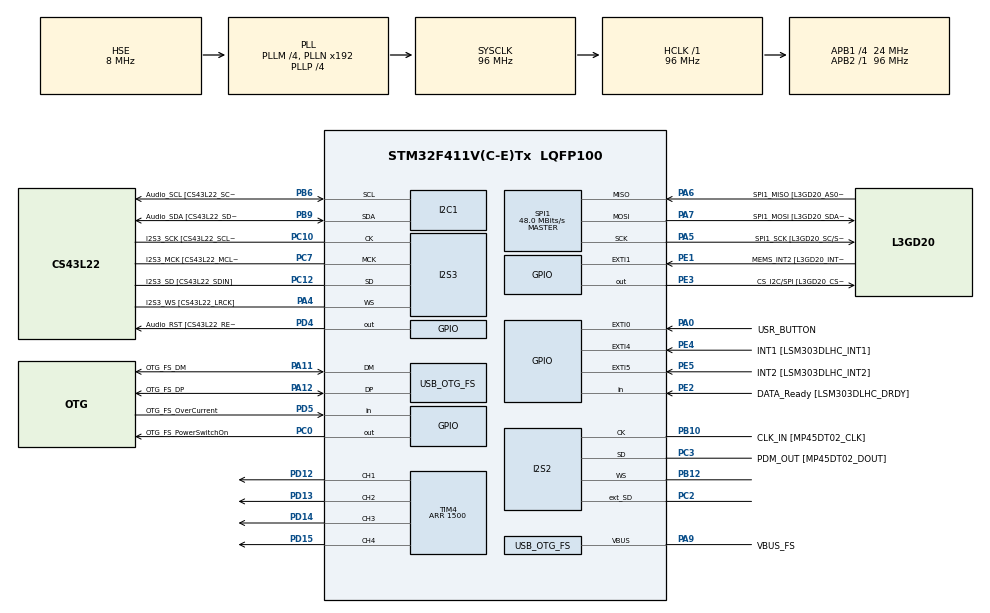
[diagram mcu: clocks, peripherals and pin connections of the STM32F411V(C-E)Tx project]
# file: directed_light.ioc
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I2S2.AudioFreq=I2S_AUDIOFREQ_96K
I2S2.ErrorAudioFreq=0.15 %
I2S2.FullDuplexMode=I2S_FULLDUPLEXMODE_ENABLE
I2S2.Instance=SPI$Index
I2S2.RealAudioFreq=96.153 KHz
I2S2.VirtualMode=I2S_MODE_MASTER
I2S3.AudioFreq=I2S_AUDIOFREQ_96K
I2S3.ErrorAudioFreq=-6.99 %
I2S3.FullDuplexMode=I2S_FULLDUPLEXMODE_DISABLE
I2S3.Instance=SPI$Index
I2S3.RealAudioFreq=89.285 KHz
I2S3.VirtualMode=I2S_MODE_MASTER
Mcu.Family=STM32F4
Mcu.Name=STM32F411V(C-E)Tx
Mcu.Package=LQFP100
NVIC.EXTI0_IRQn=true\:0\:0\:false\:false\:true\:true\:true\:true
NVIC.OTG_FS_IRQn=true\:0\:0\:false\:false\:true\:true\:true\:true
NVIC.PriorityGroup=NVIC_PRIORITYGROUP_0
PA0-WKUP.GPIO_Label=USR_BUTTON
PA0-WKUP.GPIO_ModeDefaultEXTI=GPIO_MODE_IT_RISING_FALLING
PA0-WKUP.Signal=GPXTI0
PA10.GPIO_Label=OTG_FS_ID
PA10.Signal=USB_OTG_FS_ID
PA11.GPIO_Label=OTG_FS_DM
PA11.Mode=Host_Only
PA11.Signal=USB_OTG_FS_DM
PA12.GPIO_Label=OTG_FS_DP
PA12.Mode=Host_Only
PA12.Signal=USB_OTG_FS_DP
PA13.GPIO_Label=SWDIO
PA13.Mode=Serial_Wire
PA13.Signal=SYS_JTMS-SWDIO
PA14.GPIO_Label=SWCLK
PA14.Mode=Serial_Wire
PA14.Signal=SYS_JTCK-SWCLK
PA4.GPIO_Label=I2S3_WS [CS43L22_LRCK]
PA4.GPIO_Mode=GPIO_MODE_AF_PP
PA4.GPIO_PuPd=GPIO_NOPULL
PA4.GPIO_Speed=GPIO_SPEED_FREQ_LOW
PA4.Mode=Half_Duplex_Master
PA4.Signal=I2S3_WS
PA5.GPIO_Label=SPI1_SCK [L3GD20_SC/SPC]
PA5.Mode=Full_Duplex_Master
PA5.Signal=SPI1_SCK
PA6.GPIO_Label=SPI1_MISO [L3GD20_AS0/SDO]
PA6.Mode=Full_Duplex_Master
PA6.Signal=SPI1_MISO
PA7.GPIO_Label=SPI1_MOSI [L3GD20_SDA/SDI/SDO]
PA7.Mode=Full_Duplex_Master
PA7.Signal=SPI1_MOSI
PA9.GPIO_Label=VBUS_FS
PA9.Mode=Activate_VBUS
PA9.Signal=USB_OTG_FS_VBUS
PB10.GPIO_Label=CLK_IN [MP45DT02_CLK]
PB10.Mode=Full_Duplex_Master
PB10.Signal=I2S2_CK
PB12.Mode=Full_Duplex_Master
PB12.Signal=I2S2_WS
PB3.GPIO_Label=SWO
PB3.Signal=SYS_JTDO-SWO
PB6.GPIO_Label=Audio_SCL [CS43L22_SCL]
PB6.GPIO_Mode=GPIO_MODE_AF_OD
PB6.GPIO_Pu=GPIO_PULLUP
PB6.GPIO_PuPd=GPIO_NOPULL
PB6.GPIO_Speed=GPIO_SPEED_FREQ_LOW
PB6.Mode=I2C
PB6.Signal=I2C1_SCL
PB9.GPIO_Label=Audio_SDA [CS43L22_SDA]
PB9.GPIO_Mode=GPIO_MODE_AF_OD
PB9.GPIO_Pu=GPIO_PULLUP
PB9.GPIO_PuPd=GPIO_NOPULL
PB9.GPIO_Speed=GPIO_SPEED_FREQ_LOW
PB9.Mode=I2C
PB9.Signal=I2C1_SDA
PC0.GPIO_Label=OTG_FS_PowerSwitchOn
PC0.PinState=GPIO_PIN_SET
PC0.Signal=GPIO_Output
PC10.GPIO_Label=I2S3_SCK [CS43L22_SCLK]
PC10.GPIO_Mode=GPIO_MODE_AF_PP
PC10.GPIO_PuPd=GPIO_NOPULL
PC10.GPIO_Speed=GPIO_SPEED_FREQ_LOW
PC10.Mode=Half_Duplex_Master
PC10.Signal=I2S3_CK
PC12.GPIO_Label=I2S3_SD [CS43L22_SDIN]
PC12.GPIO_Mode=GPIO_MODE_AF_PP
PC12.GPIO_PuPd=GPIO_NOPULL
PC12.GPIO_Speed=GPIO_SPEED_FREQ_LOW
PC12.Mode=Half_Duplex_Master
PC12.Signal=I2S3_SD
PC14-OSC32_IN.GPIO_Label=PC14-OSC32_IN
PC14-OSC32_IN.Mode=LSE-External-Oscillator
PC14-OSC32_IN.Signal=RCC_OSC32_IN
PC15-OSC32_OUT.GPIO_Label=PC15-OSC32_OUT
PC15-OSC32_OUT.Mode=LSE-External-Oscillator
PC15-OSC32_OUT.Signal=RCC_OSC32_OUT
PC2.Mode=Full_Duplex_Master
PC2.Signal=I2S2_ext_SD
PC3.GPIO_Label=PDM_OUT [MP45DT02_DOUT]
PC3.Mode=Full_Duplex_Master
PC3.Signal=I2S2_SD
PC7.GPIO_Label=I2S3_MCK [CS43L22_MCLK]
PC7.GPIO_Mode=GPIO_MODE_AF_PP
PC7.GPIO_PuPd=GPIO_NOPULL
PC7.GPIO_Speed=GPIO_SPEED_FREQ_LOW
PC7.Mode=Master_Clock_Activated
PC7.Signal=I2S3_MCK
PD12.Signal=S_TIM4_CH1
PD13.Signal=S_TIM4_CH2
PD14.Signal=S_TIM4_CH3
PD15.Signal=S_TIM4_CH4
PD4.GPIO_Label=Audio_RST [CS43L22_RESET]
PD4.Signal=GPIO_Output
PD5.GPIO_Label=OTG_FS_OverCurrent
PD5.Signal=GPIO_Input
PE1.GPIO_Label=MEMS_INT2 [L3GD20_INT2]
PE1.GPIO_ModeDefaultEXTI=GPIO_MODE_EVT_RISING
PE1.Signal=GPXTI1
PE2.GPIO_Label=DATA_Ready [LSM303DLHC_DRDY]
PE2.Signal=GPIO_Input
PE3.GPIO_Label=CS_I2C/SPI [L3GD20_CS_I2C/SPI]
PE3.Signal=GPIO_Output
PE4.GPIO_Label=INT1 [LSM303DLHC_INT1]
PE4.GPIO_ModeDefaultEXTI=GPIO_MODE_EVT_RISING
PE4.Signal=GPXTI4
PE5.GPIO_Label=INT2 [LSM303DLHC_INT2]
PE5.GPIO_ModeDefaultEXTI=GPIO_MODE_EVT_RISING
PE5.Signal=GPXTI5
PH0\ -\ OSC_IN.GPIO_Label=PH0-OSC_IN
PH0\ -\ OSC_IN.Mode=HSE-External-Oscillator
PH0\ -\ OSC_IN.Signal=RCC_OSC_IN
PH1\ -\ OSC_OUT.GPIO_Label=PH1-OSC_OUT
PH1\ -\ OSC_OUT.Mode=HSE-External-Oscillator
PH1\ -\ OSC_OUT.Signal=RCC_OSC_OUT
ProjectManager.HeapSize=0x200
ProjectManager.StackSize=0x400
ProjectManager.TargetToolchain=STM32CubeIDE
RCC.48MHZClocksFreq_Value=48000000
RCC.AHBFreq_Value=96000000
RCC.APB1CLKDivider=RCC_HCLK_DIV4
RCC.APB1Freq_Value=24000000
RCC.APB1TimFreq_Value=48000000
RCC.APB2Freq_Value=96000000
RCC.APB2TimFreq_Value=96000000
RCC.CortexFreq_Value=96000000
RCC.HCLKFreq_Value=96000000
RCC.HSE_VALUE=8000000
RCC.HSI_VALUE=16000000
RCC.PLLI2SM=5
RCC.PLLI2SN=200
RCC.PLLM=4
RCC.PLLP=RCC_PLLP_DIV4
RCC.PLLQ=8
RCC.SYSCLKFreq_VALUE=96000000
RCC.SYSCLKSource=RCC_SYSCLKSOURCE_PLLCLK
RCC.VCOOutputFreq_Value=384000000
SH.S_TIM4_CH1.0=TIM4_CH1,PWM Generation1 CH1
SH.S_TIM4_CH2.0=TIM4_CH2,PWM Generation2 CH2
SH.S_TIM4_CH3.0=TIM4_CH3,PWM Generation3 CH3
SH.S_TIM4_CH4.0=TIM4_CH4,PWM Generation4 CH4
SPI1.BaudRatePrescaler=SPI_BAUDRATEPRESCALER_2
SPI1.CalculateBaudRate=48.0 MBits/s
SPI1.Direction=SPI_DIRECTION_2LINES
SPI1.Mode=SPI_MODE_MASTER
SPI1.VirtualType=VM_MASTER
TIM4.Channel-PWM\ Generation1\ CH1=TIM_CHANNEL_1
TIM4.Channel-PWM\ Generation2\ CH2=TIM_CHANNEL_2
TIM4.Channel-PWM\ Generation3\ CH3=TIM_CHANNEL_3
TIM4.Channel-PWM\ Generation4\ CH4=TIM_CHANNEL_4
TIM4.Period=1500
USB_HOST.BSP.number=1
USB_HOST.USBH_HandleTypeDef=hUsbHostFS
USB_HOST.VirtualModeFS=Cdc
USB_HOST0.BSP.STBoard=false
USB_HOST0.BSP.api=Unknown
USB_HOST0.BSP.instance=PC0
USB_HOST0.BSP.ip=GPIO
USB_HOST0.BSP.mode=Output
USB_HOST0.BSP.name=Drive_VBUS_FS
USB_HOST0.BSP.solution=PC0
USB_OTG_FS.VirtualMode=Host_Only
USB_OTG_FS.phy_itface=HCD_PHY_EMBEDDED
VP_TIM4_VS_ClockSourceINT.Mode=Internal
VP_USB_HOST_VS_USB_HOST_CDC_FS.Mode=CDC_FS
board=STM32F411E-DISCO

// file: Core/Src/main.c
/* USER CODE BEGIN Header */
/**
  ******************************************************************************
  * @file           : main.c
  * @brief          : Main program body
  ******************************************************************************
  * @attention
  *
  * Copyright (c) 2022 STMicroelectronics.
  * All rights reserved.
  *
  * This software is licensed under terms that can be found in the LICENSE file
  * in the root directory of this software component.
  * If no LICENSE file comes with this software, it is provided AS-IS.
  *
  ******************************************************************************
  */
/* USER CODE END Header */
#include "main.h"
#include "usb_host.h"

/* USER CODE BEGIN Includes */
#include "stdbool.h"

/* USER CODE END Includes */

I2C_HandleTypeDef hi2c1;

I2S_HandleTypeDef hi2s2;
I2S_HandleTypeDef hi2s3;

SPI_HandleTypeDef hspi1;

TIM_HandleTypeDef htim4;

void SystemClock_Config(void);
void PeriphCommonClock_Config(void);
static void MX_GPIO_Init(void);
static void MX_I2C1_Init(void);
static void MX_I2S2_Init(void);
static void MX_I2S3_Init(void);
static void MX_SPI1_Init(void);
static void MX_TIM4_Init(void);
void MX_USB_HOST_Process(void);

/* USER CODE BEGIN PFP */
volatile int pressed = 0;
volatile bool button_is_pressed = false;
volatile bool direction = true;
void HAL_GPIO_EXTI_Callback(uint16_t GPIO_Pin)
{
	if( GPIO_Pin != USR_BUTTON_Pin) {
		return;
	}

	static uint32_t last_change_tick;
	if( HAL_GetTick() - last_change_tick < 50 ) {
		return;
	}

	last_change_tick = HAL_GetTick();
	if(button_is_pressed) {
	  direction = !direction;
	}

	button_is_pressed = !button_is_pressed;
}
/* USER CODE END PFP */

int main(void)
{
  /* USER CODE BEGIN 1 */
	volatile uint32_t* tim4_crrs[] = {&TIM4->CCR4, &TIM4->CCR3, &TIM4->CCR2, &TIM4->CCR1};
	int i = 0;

	void led_pwm() {
		while(*tim4_crrs[i] < TIM4->ARR) {
			*tim4_crrs[i]+=TIM4->ARR/15;
			HAL_Delay(25);
		}
		while(*tim4_crrs[i] > 0) {
			*tim4_crrs[i]-=TIM4->ARR/15;
			HAL_Delay(25);
		}
	}
  /* USER CODE END 1 */

  /* MCU Configuration--------------------------------------------------------*/

  /* Reset of all peripherals, Initializes the Flash interface and the Systick. */
  HAL_Init();

  /* Configure the system clock */
  SystemClock_Config();

/* Configure the peripherals common clocks */
  PeriphCommonClock_Config();

  /* Initialize all configured peripherals */
  MX_GPIO_Init();
  MX_I2C1_Init();
  MX_I2S2_Init();
  MX_I2S3_Init();
  MX_SPI1_Init();
  MX_USB_HOST_Init();
  MX_TIM4_Init();
  /* USER CODE BEGIN 2 */
  if(HAL_TIM_PWM_Start(&htim4, TIM_CHANNEL_1) != HAL_OK) {
	  Error_Handler();
  }
  if(HAL_TIM_PWM_Start(&htim4, TIM_CHANNEL_2) != HAL_OK) {
	  Error_Handler();
  }
  if(HAL_TIM_PWM_Start(&htim4, TIM_CHANNEL_3) != HAL_OK) {
	  Error_Handler();
  }
  if(HAL_TIM_PWM_Start(&htim4, TIM_CHANNEL_4) != HAL_OK) {
	  Error_Handler();
  }
  /* USER CODE END 2 */

  /* Infinite loop */
  /* USER CODE BEGIN WHILE */
    while (1)
    {
      led_pwm();

      HAL_NVIC_DisableIRQ(EXTI0_IRQn);
      bool curr_direction = direction;
      HAL_NVIC_EnableIRQ(EXTI0_IRQn);

      if (curr_direction) {
    	  i++;
    	  i = i%4;
      } else {
    	  i=i+3;
    	  i = i%4;
      }
    /* USER CODE END WHILE */
    MX_USB_HOST_Process();

  }
}

void SystemClock_Config(void)
{
  RCC_OscInitTypeDef RCC_OscInitStruct = {0};
  RCC_ClkInitTypeDef RCC_ClkInitStruct = {0};

  /** Configure the main internal regulator output voltage
  */
  __HAL_RCC_PWR_CLK_ENABLE();
  __HAL_PWR_VOLTAGESCALING_CONFIG(PWR_REGULATOR_VOLTAGE_SCALE1);

  /** Initializes the RCC Oscillators according to the specified parameters
  * in the RCC_OscInitTypeDef structure.
  */
  RCC_OscInitStruct.OscillatorType = RCC_OSCILLATORTYPE_HSE;
  RCC_OscInitStruct.HSEState = RCC_HSE_ON;
  RCC_OscInitStruct.PLL.PLLState = RCC_PLL_ON;
  RCC_OscInitStruct.PLL.PLLSource = RCC_PLLSOURCE_HSE;
  RCC_OscInitStruct.PLL.PLLM = 4;
  RCC_OscInitStruct.PLL.PLLN = 192;
  RCC_OscInitStruct.PLL.PLLP = RCC_PLLP_DIV4;
  RCC_OscInitStruct.PLL.PLLQ = 8;
  if (HAL_RCC_OscConfig(&RCC_OscInitStruct) != HAL_OK)
  {
    Error_Handler();
  }

  /** Initializes the CPU, AHB and APB buses clocks
  */
  RCC_ClkInitStruct.ClockType = RCC_CLOCKTYPE_HCLK|RCC_CLOCKTYPE_SYSCLK
                              |RCC_CLOCKTYPE_PCLK1|RCC_CLOCKTYPE_PCLK2;
  RCC_ClkInitStruct.SYSCLKSource = RCC_SYSCLKSOURCE_PLLCLK;
  RCC_ClkInitStruct.AHBCLKDivider = RCC_SYSCLK_DIV1;
  RCC_ClkInitStruct.APB1CLKDivider = RCC_HCLK_DIV4;
  RCC_ClkInitStruct.APB2CLKDivider = RCC_HCLK_DIV1;

  if (HAL_RCC_ClockConfig(&RCC_ClkInitStruct, FLASH_LATENCY_3) != HAL_OK)
  {
    Error_Handler();
  }
}

void PeriphCommonClock_Config(void)
{
  RCC_PeriphCLKInitTypeDef PeriphClkInitStruct = {0};

  /** Initializes the peripherals clock
  */
  PeriphClkInitStruct.PeriphClockSelection = RCC_PERIPHCLK_I2S;
  PeriphClkInitStruct.PLLI2S.PLLI2SN = 200;
  PeriphClkInitStruct.PLLI2S.PLLI2SM = 5;
  PeriphClkInitStruct.PLLI2S.PLLI2SR = 2;
  if (HAL_RCCEx_PeriphCLKConfig(&PeriphClkInitStruct) != HAL_OK)
  {
    Error_Handler();
  }
}

static void MX_I2C1_Init(void)
{

  hi2c1.Instance = I2C1;
  hi2c1.Init.ClockSpeed = 100000;
  hi2c1.Init.DutyCycle = I2C_DUTYCYCLE_2;
  hi2c1.Init.OwnAddress1 = 0;
  hi2c1.Init.AddressingMode = I2C_ADDRESSINGMODE_7BIT;
  hi2c1.Init.DualAddressMode = I2C_DUALADDRESS_DISABLE;
  hi2c1.Init.OwnAddress2 = 0;
  hi2c1.Init.GeneralCallMode = I2C_GENERALCALL_DISABLE;
  hi2c1.Init.NoStretchMode = I2C_NOSTRETCH_DISABLE;
  if (HAL_I2C_Init(&hi2c1) != HAL_OK)
  {
    Error_Handler();
  }

}

static void MX_I2S2_Init(void)
{

  hi2s2.Instance = SPI2;
  hi2s2.Init.Mode = I2S_MODE_MASTER_TX;
  hi2s2.Init.Standard = I2S_STANDARD_PHILIPS;
  hi2s2.Init.DataFormat = I2S_DATAFORMAT_16B;
  hi2s2.Init.MCLKOutput = I2S_MCLKOUTPUT_DISABLE;
  hi2s2.Init.AudioFreq = I2S_AUDIOFREQ_96K;
  hi2s2.Init.CPOL = I2S_CPOL_LOW;
  hi2s2.Init.ClockSource = I2S_CLOCK_PLL;
  hi2s2.Init.FullDuplexMode = I2S_FULLDUPLEXMODE_ENABLE;
  if (HAL_I2S_Init(&hi2s2) != HAL_OK)
  {
    Error_Handler();
  }

}

static void MX_I2S3_Init(void)
{

  hi2s3.Instance = SPI3;
  hi2s3.Init.Mode = I2S_MODE_MASTER_TX;
  hi2s3.Init.Standard = I2S_STANDARD_PHILIPS;
  hi2s3.Init.DataFormat = I2S_DATAFORMAT_16B;
  hi2s3.Init.MCLKOutput = I2S_MCLKOUTPUT_ENABLE;
  hi2s3.Init.AudioFreq = I2S_AUDIOFREQ_96K;
  hi2s3.Init.CPOL = I2S_CPOL_LOW;
  hi2s3.Init.ClockSource = I2S_CLOCK_PLL;
  hi2s3.Init.FullDuplexMode = I2S_FULLDUPLEXMODE_DISABLE;
  if (HAL_I2S_Init(&hi2s3) != HAL_OK)
  {
    Error_Handler();
  }

}

static void MX_SPI1_Init(void)
{

  /* SPI1 parameter configuration*/
  hspi1.Instance = SPI1;
  hspi1.Init.Mode = SPI_MODE_MASTER;
  hspi1.Init.Direction = SPI_DIRECTION_2LINES;
  hspi1.Init.DataSize = SPI_DATASIZE_8BIT;
  hspi1.Init.CLKPolarity = SPI_POLARITY_LOW;
  hspi1.Init.CLKPhase = SPI_PHASE_1EDGE;
  hspi1.Init.NSS = SPI_NSS_SOFT;
  hspi1.Init.BaudRatePrescaler = SPI_BAUDRATEPRESCALER_2;
  hspi1.Init.FirstBit = SPI_FIRSTBIT_MSB;
  hspi1.Init.TIMode = SPI_TIMODE_DISABLE;
  hspi1.Init.CRCCalculation = SPI_CRCCALCULATION_DISABLE;
  hspi1.Init.CRCPolynomial = 10;
  if (HAL_SPI_Init(&hspi1) != HAL_OK)
  {
    Error_Handler();
  }

}

static void MX_TIM4_Init(void)
{

  TIM_ClockConfigTypeDef sClockSourceConfig = {0};
  TIM_MasterConfigTypeDef sMasterConfig = {0};
  TIM_OC_InitTypeDef sConfigOC = {0};

  htim4.Instance = TIM4;
  htim4.Init.Prescaler = 0;
  htim4.Init.CounterMode = TIM_COUNTERMODE_UP;
  htim4.Init.Period = 1000;
  htim4.Init.ClockDivision = TIM_CLOCKDIVISION_DIV1;
  htim4.Init.AutoReloadPreload = TIM_AUTORELOAD_PRELOAD_DISABLE;
  if (HAL_TIM_Base_Init(&htim4) != HAL_OK)
  {
    Error_Handler();
  }
  sClockSourceConfig.ClockSource = TIM_CLOCKSOURCE_INTERNAL;
  if (HAL_TIM_ConfigClockSource(&htim4, &sClockSourceConfig) != HAL_OK)
  {
    Error_Handler();
  }
  if (HAL_TIM_PWM_Init(&htim4) != HAL_OK)
  {
    Error_Handler();
  }
  sMasterConfig.MasterOutputTrigger = TIM_TRGO_RESET;
  sMasterConfig.MasterSlaveMode = TIM_MASTERSLAVEMODE_DISABLE;
  if (HAL_TIMEx_MasterConfigSynchronization(&htim4, &sMasterConfig) != HAL_OK)
  {
    Error_Handler();
  }
  sConfigOC.OCMode = TIM_OCMODE_PWM1;
  sConfigOC.Pulse = 0;
  sConfigOC.OCPolarity = TIM_OCPOLARITY_HIGH;
  sConfigOC.OCFastMode = TIM_OCFAST_DISABLE;
  if (HAL_TIM_PWM_ConfigChannel(&htim4, &sConfigOC, TIM_CHANNEL_1) != HAL_OK)
  {
    Error_Handler();
  }
  if (HAL_TIM_PWM_ConfigChannel(&htim4, &sConfigOC, TIM_CHANNEL_2) != HAL_OK)
  {
    Error_Handler();
  }
  if (HAL_TIM_PWM_ConfigChannel(&htim4, &sConfigOC, TIM_CHANNEL_3) != HAL_OK)
  {
    Error_Handler();
  }
  if (HAL_TIM_PWM_ConfigChannel(&htim4, &sConfigOC, TIM_CHANNEL_4) != HAL_OK)
  {
    Error_Handler();
  }
  HAL_TIM_MspPostInit(&htim4);

}

static void MX_GPIO_Init(void)
{
  GPIO_InitTypeDef GPIO_InitStruct = {0};

  /* GPIO Ports Clock Enable */
  __HAL_RCC_GPIOE_CLK_ENABLE();
  __HAL_RCC_GPIOC_CLK_ENABLE();
  __HAL_RCC_GPIOH_CLK_ENABLE();
  __HAL_RCC_GPIOA_CLK_ENABLE();
  __HAL_RCC_GPIOB_CLK_ENABLE();
  __HAL_RCC_GPIOD_CLK_ENABLE();

  /*Configure GPIO pin Output Level */
  HAL_GPIO_WritePin(CS_I2C_SPI_GPIO_Port, CS_I2C_SPI_Pin, GPIO_PIN_RESET);

  /*Configure GPIO pin Output Level */
  HAL_GPIO_WritePin(OTG_FS_PowerSwitchOn_GPIO_Port, OTG_FS_PowerSwitchOn_Pin, GPIO_PIN_SET);

  /*Configure GPIO pin Output Level */
  HAL_GPIO_WritePin(Audio_RST_GPIO_Port, Audio_RST_Pin, GPIO_PIN_RESET);

  /*Configure GPIO pin : DATA_Ready_Pin */
  GPIO_InitStruct.Pin = DATA_Ready_Pin;
  GPIO_InitStruct.Mode = GPIO_MODE_INPUT;
  GPIO_InitStruct.Pull = GPIO_NOPULL;
  HAL_GPIO_Init(DATA_Ready_GPIO_Port, &GPIO_InitStruct);

  /*Configure GPIO pin : CS_I2C_SPI_Pin */
  GPIO_InitStruct.Pin = CS_I2C_SPI_Pin;
  GPIO_InitStruct.Mode = GPIO_MODE_OUTPUT_PP;
  GPIO_InitStruct.Pull = GPIO_NOPULL;
  GPIO_InitStruct.Speed = GPIO_SPEED_FREQ_LOW;
  HAL_GPIO_Init(CS_I2C_SPI_GPIO_Port, &GPIO_InitStruct);

  /*Configure GPIO pins : INT1_Pin INT2_Pin MEMS_INT2_Pin */
  GPIO_InitStruct.Pin = INT1_Pin|INT2_Pin|MEMS_INT2_Pin;
  GPIO_InitStruct.Mode = GPIO_MODE_EVT_RISING;
  GPIO_InitStruct.Pull = GPIO_NOPULL;
  HAL_GPIO_Init(GPIOE, &GPIO_InitStruct);

  /*Configure GPIO pin : OTG_FS_PowerSwitchOn_Pin */
  GPIO_InitStruct.Pin = OTG_FS_PowerSwitchOn_Pin;
  GPIO_InitStruct.Mode = GPIO_MODE_OUTPUT_PP;
  GPIO_InitStruct.Pull = GPIO_NOPULL;
  GPIO_InitStruct.Speed = GPIO_SPEED_FREQ_LOW;
  HAL_GPIO_Init(OTG_FS_PowerSwitchOn_GPIO_Port, &GPIO_InitStruct);

  /*Configure GPIO pin : USR_BUTTON_Pin */
  GPIO_InitStruct.Pin = USR_BUTTON_Pin;
  GPIO_InitStruct.Mode = GPIO_MODE_IT_RISING_FALLING;
  GPIO_InitStruct.Pull = GPIO_NOPULL;
  HAL_GPIO_Init(USR_BUTTON_GPIO_Port, &GPIO_InitStruct);

  /*Configure GPIO pin : Audio_RST_Pin */
  GPIO_InitStruct.Pin = Audio_RST_Pin;
  GPIO_InitStruct.Mode = GPIO_MODE_OUTPUT_PP;
  GPIO_InitStruct.Pull = GPIO_NOPULL;
  GPIO_InitStruct.Speed = GPIO_SPEED_FREQ_LOW;
  HAL_GPIO_Init(Audio_RST_GPIO_Port, &GPIO_InitStruct);

  /*Configure GPIO pin : OTG_FS_OverCurrent_Pin */
  GPIO_InitStruct.Pin = OTG_FS_OverCurrent_Pin;
  GPIO_InitStruct.Mode = GPIO_MODE_INPUT;
  GPIO_InitStruct.Pull = GPIO_NOPULL;
  HAL_GPIO_Init(OTG_FS_OverCurrent_GPIO_Port, &GPIO_InitStruct);

  /* EXTI interrupt init*/
  HAL_NVIC_SetPriority(EXTI0_IRQn, 0, 0);
  HAL_NVIC_EnableIRQ(EXTI0_IRQn);

}

void Error_Handler(void)
{
  __disable_irq();
  while (1)
  {
  }
}
